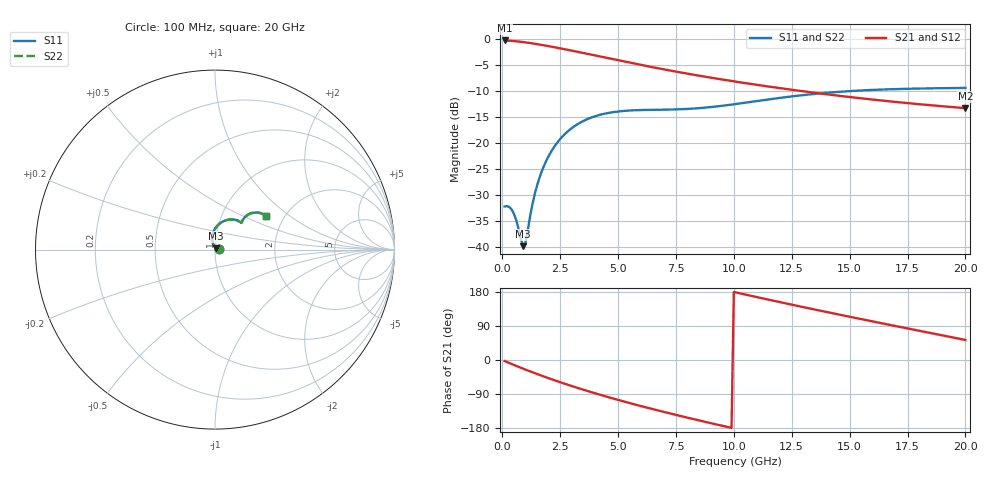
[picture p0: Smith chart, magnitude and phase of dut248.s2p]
! Touchstone file exported from HFSS 2024.1.0
!  File:  C:/UserFiles/LocalFiles/RDL_TSV_Batchsim/temp_RDL_TSV_248_1779455824.aedt
!  Generated:  09:35:01 PM May 22, 2026
!  Design:  RDL_TSV
!  Project:  temp_RDL_TSV_248_1779455824
!  Setup:  Setup1
!  Solution:  Sweep
! Variables:
!  dtsv = 12.14um
!  hbump = 3um
!  htsv = 76.09um
!  ldown = 684.08um
!  lrdl = 645.9um
!  p = 40
!  p1 = 50.67um
!  rhole = 10um
!  subl = 4635.84um
!  t = 450um
!  tdown = 4.19um
!  trdl = 2.22um
!  viad = 10um
!  wdown = 29.8um
!  wrdl = 22.52um
!  xbump = 18um
# GHz S MA R 50.000000
! Terminal data exported
! Port[1] = TM1_1_T1
! Port[2] = TM1_4_T1
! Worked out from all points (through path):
!   200 points, 100 MHz to 20 GHz, reference 50 ohm
!   highest |S21| = -0.22 dB at 100 MHz (marker M1); lowest = -13.3 dB at 20 GHz (marker M2)
!   group delay of S21, straight-line fit = 40.6 ps
!   lowest |S11| = -39.9 dB at 900 MHz (marker M3), VSWR 1.02, Z = 50.7 + j0.713 ohm
!   |S11| at or under -10 dB: start of sweep to 14.99 GHz
!   |S22| runs from -39.9 to -9.3 dB; largest |S21 - S12| = 9.6e-15
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0.1  0.02438 2.2  0.9749 -2.7  0.9749 -2.7  0.02438 2.2
! Gamma 0 0 0 0
! Port Impedance 50 0 50 0
0.3  0.02414 2.7  0.9695 -7.9  0.9695 -7.9  0.02414 2.7
0.5  0.02075 2.6  0.9618 -13.0  0.9618 -13.0  0.02076 2.6
0.9  0.01008 44.2  0.9409 -22.9  0.9409 -22.9  0.01007 44.0
1  0.01089 71.9  0.9346 -25.3  0.9346 -25.3  0.01086 71.7
1.3  0.02546 106.3  0.9139 -32.4  0.9139 -32.4  0.02541 106.3
1.5  0.03874 108.6  0.8989 -37.0  0.8989 -37.0  0.03868 108.6
1.9  0.06737 103.9  0.8674 -45.9  0.8674 -45.9  0.06727 103.9
2.2  0.08879 98.2  0.843 -52.3  0.843 -52.3  0.08867 98.2
2.6  0.1155 90.3  0.8102 -60.7  0.8102 -60.7  0.1154 90.3
3.5  0.1629 74.2  0.7375 -78.4  0.7375 -78.4  0.1627 74.2
4.3  0.1888 62.9  0.6767 -93.1  0.6767 -93.1  0.1885 62.9
5.1  0.2022 54.6  0.621 -107.0  0.621 -107.0  0.2018 54.6
5.9  0.2074 49.2  0.5711 -120.2  0.5711 -120.2  0.2069 49.2
6.8  0.2091 46.0  0.5217 -134.3  0.5217 -134.3  0.2085 46.1
8.3  0.215 45.7  0.4536 -156.6  0.4536 -156.6  0.2144 45.8
10.1  0.2377 47.2  0.3898 178.1  0.3898 178.1  0.2373 47.4
11.7  0.2667 46.5  0.345 156.5  0.345 156.5  0.2667 46.8
13.4  0.2959 43.8  0.3067 134.4  0.3067 134.4  0.2963 44.0
15  0.3163 40.5  0.2775 114.1  0.2775 114.1  0.317 40.7
16.7  0.3294 37.2  0.2523 93.1  0.2523 93.1  0.3303 37.4
20  0.3397 33.6  0.2166 52.9  0.2166 52.9  0.341 33.7
